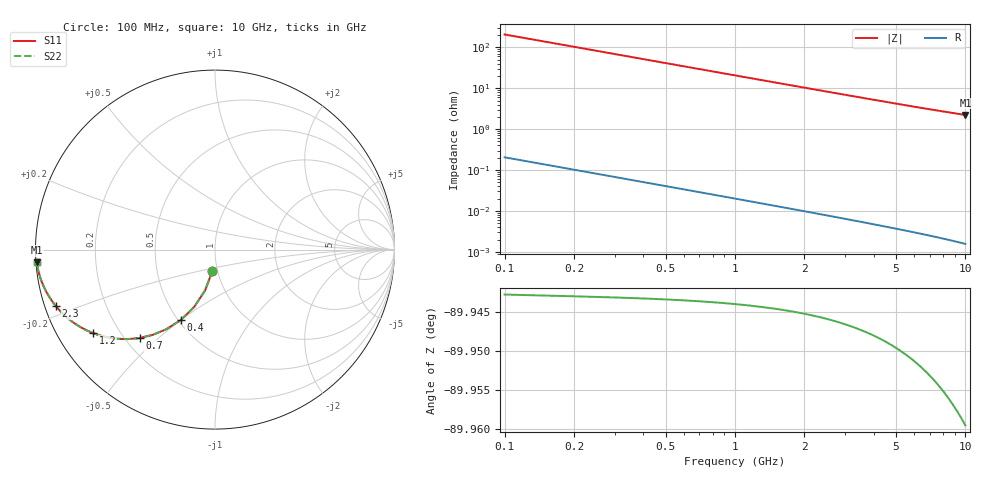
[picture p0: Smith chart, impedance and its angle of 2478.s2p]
# Hz S RI R 50.00
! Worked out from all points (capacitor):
!   100 points, 100 MHz to 10 GHz, reference 50 ohm
!   read as one part in shunt: C = 7.74 pF near 100 MHz
!   lowest |Z| = 2.23 ohm at 10 GHz (marker M1)
!   S11 on the Smith chart (normalised r, x): 100 MHz: 0.94, -0.23; 400 MHz: 0.51, -0.50; 700 MHz: 0.26, -0.44; 1.2 GHz: 0.11, -0.31; 2.3 GHz: 0.03, -0.17; 10 GHz: 0.00, -0.04
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1e8  -0.0147 -0.1198  0.9853 -0.1199  0.9853 -0.1199  -0.0147 -0.1198
2e8  -0.0561 -0.2294  0.9439 -0.2298  0.9439 -0.2298  -0.0561 -0.2294
3e8  -0.1177 -0.3216  0.8822 -0.3221  0.8822 -0.3221  -0.1177 -0.3216
4e8  -0.1916 -0.3928  0.8083 -0.3934  0.8083 -0.3934  -0.1916 -0.3928
5e8  -0.2702 -0.4432  0.7298 -0.444  0.7298 -0.444  -0.2702 -0.4432
6e8  -0.3476 -0.4752  0.6524 -0.4762  0.6524 -0.4762  -0.3476 -0.4752
7e8  -0.4202 -0.4925  0.5797 -0.4936  0.5797 -0.4936  -0.4202 -0.4925
9e8  -0.5449 -0.4968  0.4551 -0.4982  0.4551 -0.4982  -0.5449 -0.4968
1e9  -0.5964 -0.4893  0.4036 -0.4909  0.4036 -0.4909  -0.5964 -0.4893
1.2e9  -0.6801 -0.465  0.3198 -0.4669  0.3198 -0.4669  -0.6801 -0.465
1.3e9  -0.7138 -0.4504  0.2861 -0.4525  0.2861 -0.4525  -0.7138 -0.4504
1.5e9  -0.7685 -0.4201  0.2315 -0.4225  0.2315 -0.4225  -0.7685 -0.4201
1.8e9  -0.8268 -0.3764  0.1731 -0.3793  0.1731 -0.3793  -0.8268 -0.3764
2e9  -0.8549 -0.3501  0.1451 -0.3533  0.1451 -0.3533  -0.8549 -0.3501
2.3e9  -0.8862 -0.3152  0.1138 -0.3189  0.1138 -0.3189  -0.8862 -0.3152
2.8e9  -0.9202 -0.2682  0.0798 -0.2727  0.0798 -0.2727  -0.9202 -0.2682
3.4e9  -0.9444 -0.2259  0.0555 -0.2313  0.0555 -0.2313  -0.9444 -0.2259
4.2e9  -0.9628 -0.1852  0.0371 -0.1919  0.0371 -0.1919  -0.9628 -0.1852
5.1e9  -0.9745 -0.1529  0.0254 -0.1611  0.0254 -0.1611  -0.9745 -0.1529
6.7e9  -0.9851 -0.1148  0.0148 -0.1258  0.0148 -0.1258  -0.9851 -0.1148
8.4e9  -0.9905 -0.0889  0.00931 -0.1028  0.00931 -0.1028  -0.9905 -0.0889
1e10  -0.9934 -0.0717  0.00645 -0.0885  0.00645 -0.0885  -0.9934 -0.0717
